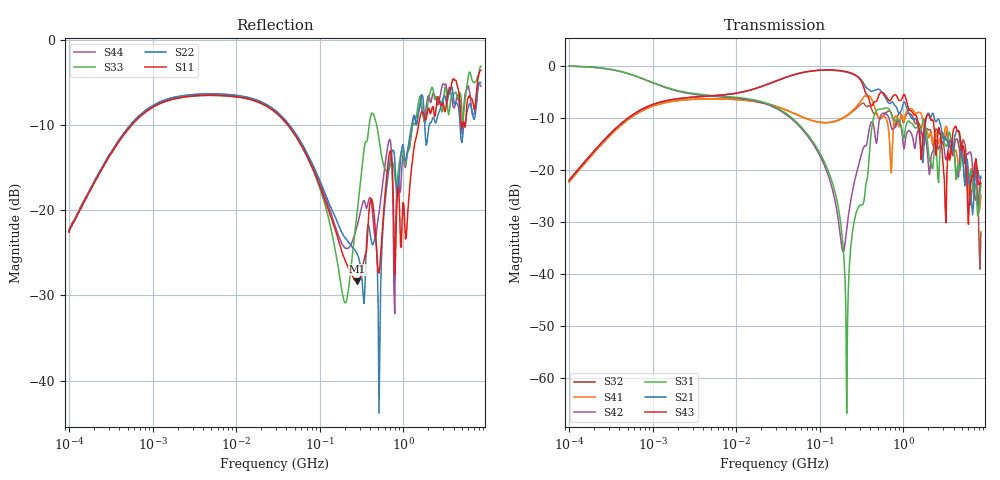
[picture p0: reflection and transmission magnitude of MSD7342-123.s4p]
# MHz S MA R 50
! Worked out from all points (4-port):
!   498 points, 100 kHz to 8.5 GHz, reference 50 ohm
!   strongest paths, dB at 100 kHz, 1.698 MHz, 29.49 MHz, 500.7 MHz, 8.5 GHz:
!     S43: -22.0, -6.6, -3.0, -6.1, -22.6
!     S21: -22.0, -6.5, -3.0, -4.5, -21.2
!     S31: -0.1, -4.5, -8.0, -8.5, -22.9
!     S42: -0.1, -4.6, -8.2, -12.2, -21.6
!     S41: -22.3, -6.9, -7.8, -10.0, -24.9
!     S32: -22.4, -6.9, -7.8, -9.8, -31.9
!   lowest |S11| = -28.3 dB at 282.9 MHz (marker M1), VSWR 1.08, Z = 53 - j2.53 ohm
!   |S11| at or under -10 dB: start of sweep to 553.5 kHz; 41.83 MHz to 1.522 GHz (1.481 GHz wide, 189 % of centre); 4.981 GHz to 5.155 GHz (174.1 MHz wide, 3.44 % of centre)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
0.1  0.07443 80.1  0.07906 80.6  0.9846 -4.5  0.07653 -99.9
     0.07906 80.6  0.07532 80.8  0.07615 -99.6  0.9854 -4.6
     0.9846 -4.5  0.07615 -99.6  0.07806 81.2  0.07928 80.4
     0.07653 -99.9  0.9854 -4.6  0.07928 80.4  0.0766 80.7
51.0163  0.2763 -58.4  0.8231 3.5  0.2937 -63.5  0.3427 108.7
         0.8231 3.5  0.2839 -57.2  0.3429 108.8  0.2858 -64.8
         0.2937 -63.5  0.3429 108.8  0.2761 -58.8  0.8225 3.3
         0.3427 108.7  0.2858 -64.8  0.8225 3.3  0.2849 -57.6
210.2067  0.04843 -65.6  0.8618 -47.8  0.00046 -65.3  0.3319 36.3
          0.8618 -47.8  0.06726 -70.4  0.3276 35.1  0.02662 96.1
          0.00046 -65.3  0.3276 35.1  0.02965 -18.6  0.872 -50.1
          0.3319 36.3  0.02662 96.1  0.872 -50.1  0.06006 -55.9
282.8688  0.03829 -38.5  0.7833 -67.6  0.04181 37.6  0.4139 12.8
          0.7833 -67.6  0.05496 -75.6  0.3974 10.0  0.1006 50.9
          0.04181 37.6  0.3974 10.0  0.1008 15.2  0.7839 -73.0
          0.4139 12.8  0.1006 50.9  0.7839 -73.0  0.08254 -46.3
6034.534  0.4656 -113.6  0.09424 -176.5  0.07335 -112.6  0.06778 -130.1
          0.09424 -176.5  0.4065 -100.0  0.07388 -163.5  0.1442 -141.8
          0.07335 -112.6  0.07388 -163.5  0.6211 -91.5  0.02996 -170.8
          0.06778 -130.1  0.1442 -141.8  0.02996 -170.8  0.5407 -136.0
7244.201  0.4038 67.1  0.09497 -121.4  0.07345 100.1  0.1134 81.3
          0.09497 -121.4  0.3575 94.1  0.05234 72.7  0.09588 47.4
          0.07345 100.1  0.05234 72.7  0.5688 91.6  0.1175 -153.6
          0.1134 81.3  0.09588 47.4  0.1175 -153.6  0.3929 59.7
8500  0.6674 -60.2  0.08663 31.9  0.07164 -14.7  0.05704 -62.1
      0.08663 31.9  0.5659 -62.1  0.02528 -11.7  0.08342 -87.9
      0.07164 -14.7  0.02528 -11.7  0.7057 -61.0  0.07417 27.3
      0.05704 -62.1  0.08342 -87.9  0.07417 27.3  0.5382 -77.5
